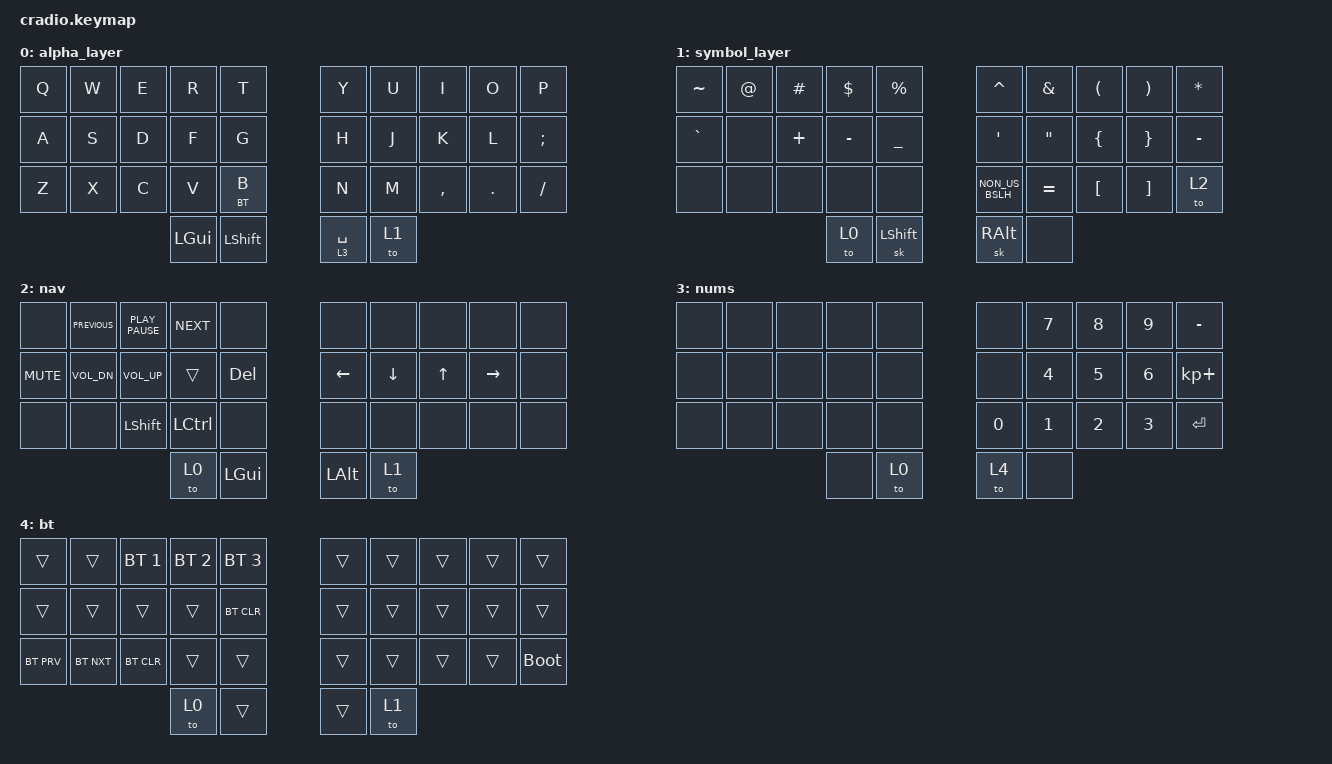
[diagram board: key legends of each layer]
/*
 * Copyright (c) 2020 The ZMK Contributors
 *
 * SPDX-License-Identifier: MIT
 */

#include <behaviors.dtsi>
#include <dt-bindings/zmk/bt.h>
#include <dt-bindings/zmk/keys.h>

#define DEFAULT 	0
#define SYMBOL   	1
#define NAV   		2
#define NUM			3
#define BT			4

&mt {
    flavor = "tap-preferred";
    tapping_term_ms = <200>;
};

/ {
    combos {
        compatible = "zmk,combos";

        esc_combo {
            bindings = <&kp ESCAPE>;
            key-positions = <1 0>;
        };

        tab_combo {
            bindings = <&kp TAB>;
            key-positions = <11 10>;
        };

        backspace_combo {
            bindings = <&kp BACKSPACE>;
            key-positions = <8 9>;
        };

        enter_combo {
            bindings = <&kp ENTER>;
            key-positions = <18 19>;
        };
    };

    keymap {
        compatible = "zmk,keymap";

        // --------------------------------------------------------------------------------------------------------------------------------------------- //
        //     Q    |    W    |    E    |    R    |    T    |                                          |    Y    |    U    |    I    |    O    |    P    //
        //     A    |    S    |    D    |    F    |    G    |                 LAYER0                   |    H    |    J    |    K    |    L    |    BKSP //
        //     Z    |    X    |    C    |    V    |    B    |                                          |    N    |    M    |    ,    |    .    |    RET  //
        //                              |   CTRL  |   SHIFT |                                          |  SPACE  |    L1                                 //
        // --------------------------------------------------------------------------------------------------------------------------------------------- //                

        alpha_layer {
            bindings = <
&kp Q  &kp W  &kp E  &kp R         &kp T             &kp Y        &kp U  &kp I      &kp O    &kp P
&kp A  &kp S  &kp D  &kp F         &kp G             &kp H        &kp J  &kp K      &kp L    &kp SEMICOLON
&kp Z  &kp X  &kp C  &kp V         &lt BT B          &kp N        &kp M  &kp COMMA  &kp DOT  &kp SLASH
                     &kp LEFT_GUI  &kp LEFT_SHIFT    &lt 3 SPACE  &to 1
            >;
        };

        // --------------------------------------------------------------------------------------------------------------------------------------------- //
        //     ~    |    @    |    #    |    $    |    %    |                                          |    ^    |    &    |    (    |    )    |    BKSP //
        //     TAB  |    `    |         |         |    _    |                 LAYER1                   |    '    |    "    |    {    |    }    |    ENTER//
        //     ESC  |         |         |         |         |                                          |    \    |    /    |    [    |    ]    |    L3   //
        //                              |   L1    |   SHIFT |                                          |  ALT    |    L2                                 //
        // --------------------------------------------------------------------------------------------------------------------------------------------- //

        symbol_layer {
            bindings = <
&kp TILDE  &kp AT  &kp HASH  &kp DOLLAR  &kp PERCENT    &kp CARET         &kp AMPS   &kp LPAR  &kp RPAR  &kp ASTRK
&kp GRAVE  &none   &kp PLUS  &kp MINUS   &kp UNDER      &kp SINGLE_QUOTE  &kp DQT    &kp LBRC  &kp RBRC  &kp MINUS
&none      &none   &none     &none       &none          &kp NON_US_BSLH   &kp EQUAL  &kp LBKT  &kp RBKT  &to 2
                             &to 0       &sk LSHIFT     &sk RALT          &none
            >;
        };

        // --------------------------------------------------------------------------------------------------------------------------------------------- //
        //     ESC  |  MOUSCRL|  MOUSUP | MOUSCRR |         |                 unused                   |   BACK  | PREVTAB | NXTTAB  |  FRWRD  |    BKSP //
        //     TAB  |  MOUSLF |  MOUSDN | MOUSRT  |    _    |                 LAYER2                   |   LEFT  |    UP   |  RIGHT  |  DOWN   |    ENTER//
        //     ~    |  RT CLK |  MOUSCRU| MOUSCRD |   DEL   |                                          |  RT CLK |         |         |         |    L4   //
        //                              |   L1    |   SHIFT |                                          |  ALT    |    L3                                 //
        // --------------------------------------------------------------------------------------------------------------------------------------------- //		

        nav {
            bindings = <
&none       &kp C_PREVIOUS  &kp K_PLAY_PAUSE  &kp C_NEXT        &none           &none         &none     &none         &none      &none
&kp C_MUTE  &kp C_VOL_DN    &kp C_VOL_UP      &trans            &kp DEL         &kp LEFT      &kp DOWN  &kp UP_ARROW  &kp RIGHT  &none
&none       &none           &kp LEFT_SHIFT    &kp LEFT_CONTROL  &none           &none         &none     &none         &none      &none
                                              &to 0             &kp LEFT_GUI    &kp LEFT_ALT  &to 1
            >;
        };

        // --------------------------------------------------------------------------------------------------------------------------------------------- //
        //     ESC    |    PLAY |    PREV |    NEXT |    T    |                                          |    -    |    7    |    8    |    9    |    P  //
        //     TAB    |    CAPS |    VOLDN|    VOLUP|    +    |                LAYER3                    |    =    |    4    |    5    |    6    |    ;  //
        //     RESET  |    BRTUP|    BRTDN|    V    |    .    |                                          |    0    |    1    |    2    |    3    |    L4  //
        //                                |   L1    |   CMD   |                                          |    L4   |   L2                                //
        // --------------------------------------------------------------------------------------------------------------------------------------------- //

        num_layer {
            bindings = <
&none  &none  &none  &none  &none    &none   &kp N7  &kp N8  &kp N9  &kp MINUS
&none  &none  &none  &none  &none    &none   &kp N4  &kp N5  &kp N6  &kp KP_PLUS
&none  &none  &none  &none  &none    &kp N0  &kp N1  &kp N2  &kp N3  &kp RETURN
                     &none  &to 0    &to 4   &none
            >;

            display-name = "nums";
        };

        bt {
            bindings = <
&trans      &trans      &bt BT_SEL 1  &bt BT_SEL 2  &bt BT_SEL 3    &trans  &trans  &trans  &trans  &trans
&trans      &trans      &trans        &trans        &bt BT_CLR      &trans  &trans  &trans  &trans  &trans
&bt BT_PRV  &bt BT_NXT  &bt BT_CLR    &trans        &trans          &trans  &trans  &trans  &trans  &bootloader
                                      &to 0         &trans          &trans  &to 1
            >;
        };
    };
};
